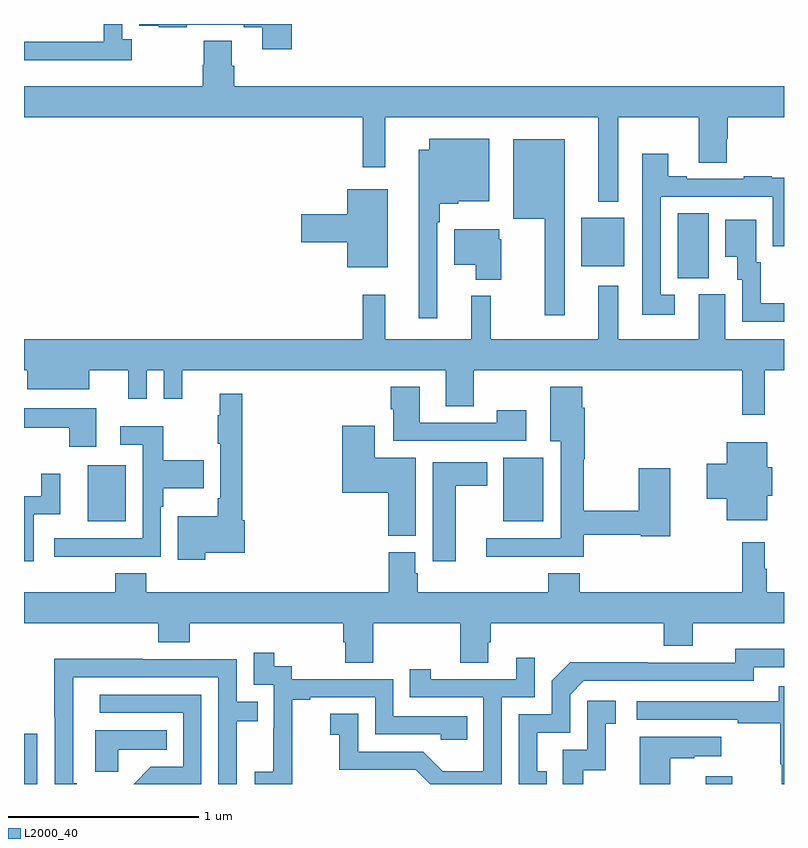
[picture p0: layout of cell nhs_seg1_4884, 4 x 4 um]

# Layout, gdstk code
import gdstk
lib = gdstk.Library(unit=1e-6, precision=1e-09)
def R(c, l, rs):  # rectangles x0, y0, x1, y1
    for r in rs: c.add(gdstk.rectangle(r[:2], r[2:], *l))
def P(c, l, *ps):  # polygons
    for p in ps: c.add(gdstk.Polygon(p, *l))
L2000_40 = (2000, 40)

nhs_seg1_4884 = lib.new_cell('nhs_seg1_4884')
R(nhs_seg1_4884, L2000_40, [(375,572.199,375.069,572.464), (378.587,572.199,378.727,572.239), (375.335,573.581,375.535,573.877), (377.522,573.581,377.734,573.916), (378.44,574.861,378.604,575.204), (377.933,574.925,378.16,575.179)])
P(nhs_seg1_4884, L2000_40, [(375.568,576.118),(375.516,576.118),(375.516,576.199),(375.419,576.199),(375.419,576.105),(375,576.105),(375,576.008),(375.568,576.008)],
  [(376.409,576.199),(375.607,576.199),(375.607,576.189),(375.709,576.189),(375.709,576.183),(375.857,576.183),(375.857,576.195),(376.157,576.195),(376.157,576.183),(376.253,576.183),(376.253,576.066),(376.409,576.066)],
  [(378.127,575.708),(378.551,575.708),(378.551,575.47),(378.699,575.47),(378.699,575.595),(378.704,575.595),(378.704,575.708),(379,575.708),(379,575.872),(376.106,575.872),(376.106,575.978),(376.093,575.978),(376.093,576.11),(375.946,576.11),(375.946,575.985),(375.941,575.985),(375.941,575.872),(375,575.872),(375,575.708),(376.783,575.708),(376.783,575.445),(376.902,575.445),(376.902,575.708),(378.023,575.708),(378.023,575.264),(378.127,575.264)],
  [(377.175,575.156),(377.188,575.156),(377.188,575.252),(377.286,575.252),(377.286,575.267),(377.449,575.267),(377.449,575.596),(377.132,575.596),(377.132,575.536),(377.078,575.536),(377.078,574.65),(377.175,574.65)],
  [(377.845,575.593),(377.576,575.593),(377.576,575.174),(377.741,575.174),(377.741,574.665),(377.845,574.665)],
  [(378.424,574.773),(378.351,574.773),(378.351,575.289),(378.942,575.289),(378.942,575.028),(379,575.028),(379,575.391),(378.935,575.391),(378.935,575.398),(378.787,575.398),(378.787,575.385),(378.487,575.385),(378.487,575.398),(378.391,575.398),(378.391,575.515),(378.255,575.515),(378.255,574.668),(378.424,574.668)],
  [(376.915,575.329),(376.7,575.329),(376.7,575.198),(376.458,575.198),(376.458,575.051),(376.7,575.051),(376.7,574.919),(376.915,574.919)],
  [(379,574.728),(378.877,574.728),(378.877,574.944),(378.853,574.944),(378.853,575.17),(378.692,575.17),(378.692,574.973),(378.755,574.973),(378.755,574.854),(378.78,574.854),(378.78,574.632),(379,574.632)],
  [(377.512,575.067),(377.5,575.067),(377.5,575.119),(377.264,575.119),(377.264,574.931),(377.378,574.931),(377.378,574.853),(377.512,574.853)],
  [(378.551,574.776),(378.551,574.54),(378.127,574.54),(378.127,574.822),(378.023,574.822),(378.023,574.54),(377.456,574.54),(377.456,574.768),(377.354,574.768),(377.354,574.54),(376.901,574.54),(376.901,574.774),(376.783,574.774),(376.783,574.54),(375,574.54),(375,574.376),(375.017,574.376),(375.017,574.277),(375.343,574.277),(375.343,574.376),(375.548,574.376),(375.548,574.227),(375.645,574.227),(375.645,574.376),(375.735,574.376),(375.735,574.227),(375.833,574.227),(375.833,574.376),(377.219,574.376),(377.219,574.186),(377.367,574.186),(377.367,574.376),(378.781,574.376),(378.781,574.143),(378.899,574.143),(378.899,574.376),(379,574.376),(379,574.54),(378.691,574.54),(378.691,574.776)],
  [(377.644,574.165),(377.488,574.165),(377.488,574.101),(377.083,574.101),(377.083,574.291),(376.931,574.291),(376.931,574.171),(376.943,574.171),(376.943,574.005),(377.644,574.005)],
  [(377.946,573.51),(378.246,573.51),(378.246,573.502),(378.4,573.502),(378.4,573.862),(378.235,573.862),(378.235,573.638),(377.946,573.638),(377.946,573.908),(377.951,573.908),(377.951,574.178),(377.938,574.178),(377.938,574.291),(377.771,574.291),(377.771,574.004),(377.825,574.004),(377.825,573.492),(377.433,573.492),(377.433,573.395),(377.946,573.395)],
  [(375.953,573.416),(376.162,573.416),(376.162,573.587),(376.148,573.587),(376.148,574.252),(376.031,574.252),(376.031,574.139),(376.02,574.139),(376.02,573.991),(376.032,573.991),(376.032,573.703),(376.02,573.703),(376.02,573.607),(375.809,573.607),(375.809,573.38),(375.953,573.38)],
  [(375.379,574.177),(375,574.177),(375,574.073),(375.239,574.073),(375.239,573.975),(375.379,573.975)],
  [(377.062,573.916),(376.846,573.916),(376.846,574.084),(376.676,574.084),(376.676,573.731),(376.916,573.731),(376.916,573.505),(377.062,573.505)],
  [(375.395,573.396),(375.72,573.396),(375.72,573.659),(375.733,573.659),(375.733,573.755),(375.947,573.755),(375.947,573.903),(375.733,573.903),(375.733,574.081),(375.507,574.081),(375.507,573.984),(375.624,573.984),(375.624,573.492),(375.159,573.492),(375.159,573.395),(375.395,573.395)],
  [(378.913,573.717),(378.937,573.717),(378.937,573.867),(378.913,573.867),(378.913,573.997),(378.698,573.997),(378.698,573.884),(378.593,573.884),(378.593,573.701),(378.698,573.701),(378.698,573.587),(378.913,573.587)],
  [(377.272,573.77),(377.437,573.77),(377.437,573.892),(377.15,573.892),(377.15,573.372),(377.272,573.372)],
  [(375.052,573.618),(375.19,573.618),(375.19,573.832),(375.092,573.832),(375.092,573.714),(375,573.714),(375,573.372),(375.052,573.372)],
  [(376.839,573.044),(377.296,573.044),(377.296,572.836),(377.443,572.836),(377.443,572.946),(377.456,572.946),(377.456,573.044),(378.368,573.044),(378.368,572.927),(378.52,572.927),(378.52,573.044),(379,573.044),(379,573.208),(378.91,573.208),(378.91,573.332),(378.898,573.332),(378.898,573.472),(378.781,573.472),(378.781,573.208),(377.924,573.208),(377.924,573.307),(377.759,573.307),(377.759,573.208),(377.072,573.208),(377.072,573.309),(377.059,573.309),(377.059,573.42),(376.919,573.42),(376.919,573.208),(375.644,573.208),(375.644,573.307),(375.479,573.307),(375.479,573.208),(375,573.208),(375,573.044),(375.707,573.044),(375.707,572.945),(375.872,572.945),(375.872,573.044),(376.679,573.044),(376.679,572.946),(376.691,572.946),(376.691,572.836),(376.839,572.836)],
  [(377.75,572.265),(377.701,572.265),(377.701,572.469),(377.874,572.469),(377.874,572.67),(377.946,572.742),(378.84,572.742),(378.84,572.814),(379,572.814),(379,572.911),(378.744,572.911),(378.744,572.838),(378.284,572.838),(378.284,572.84),(377.876,572.84),(377.778,572.742),(377.778,572.565),(377.604,572.565),(377.604,572.199),(377.75,572.199)],
  [(376.413,572.359),(376.412,572.359),(376.412,572.643),(376.507,572.643),(376.507,572.655),(376.848,572.655),(376.848,572.46),(377.193,572.46),(377.193,572.433),(377.333,572.433),(377.333,572.556),(376.944,572.556),(376.944,572.751),(376.41,572.751),(376.41,572.82),(376.318,572.82),(376.318,572.89),(376.209,572.89),(376.209,572.721),(376.314,572.721),(376.314,572.492),(376.313,572.492),(376.313,572.263),(376.215,572.263),(376.215,572.199),(376.413,572.199)],
  [(377.514,572.655),(377.688,572.655),(377.688,572.863),(377.591,572.863),(377.591,572.751),(377.14,572.751),(377.14,572.803),(377.029,572.803),(377.029,572.655),(377.418,572.655),(377.418,572.266),(377.204,572.266),(377.1,572.37),(376.758,572.37),(376.758,572.569),(376.611,572.569),(376.611,572.459),(376.66,572.459),(376.66,572.274),(377.063,572.274),(377.138,572.199),(377.514,572.199)],
  [(375.277,572.202),(375.258,572.202),(375.258,572.76),(376.023,572.76),(376.023,572.199),(376.119,572.199),(376.119,572.53),(376.229,572.53),(376.229,572.631),(376.119,572.631),(376.119,572.856),(375.623,572.856),(375.623,572.858),(375.16,572.858),(375.16,572.551),(375.162,572.551),(375.162,572.199),(375.277,572.199)],
  [(379,572.713),(378.973,572.713),(378.973,572.634),(378.225,572.634),(378.225,572.538),(378.757,572.538),(378.757,572.518),(378.981,572.518),(378.981,572.304),(378.988,572.304),(378.988,572.199),(379,572.199)],
  [(375.933,572.67),(375.399,572.67),(375.399,572.574),(375.837,572.574),(375.837,572.289),(375.668,572.289),(375.578,572.199),(375.933,572.199)],
  [(377.944,572.271),(378.062,572.271),(378.062,572.517),(378.115,572.517),(378.115,572.638),(377.964,572.638),(377.964,572.379),(377.835,572.379),(377.835,572.199),(377.944,572.199)],
  [(375.495,572.378),(375.752,572.378),(375.752,572.482),(375.374,572.482),(375.374,572.263),(375.495,572.263)],
  [(378.4,572.335),(378.527,572.335),(378.527,572.345),(378.67,572.345),(378.67,572.449),(378.242,572.449),(378.242,572.199),(378.4,572.199)])

lib.write_gds('nhs_seg1_4884.gds')
